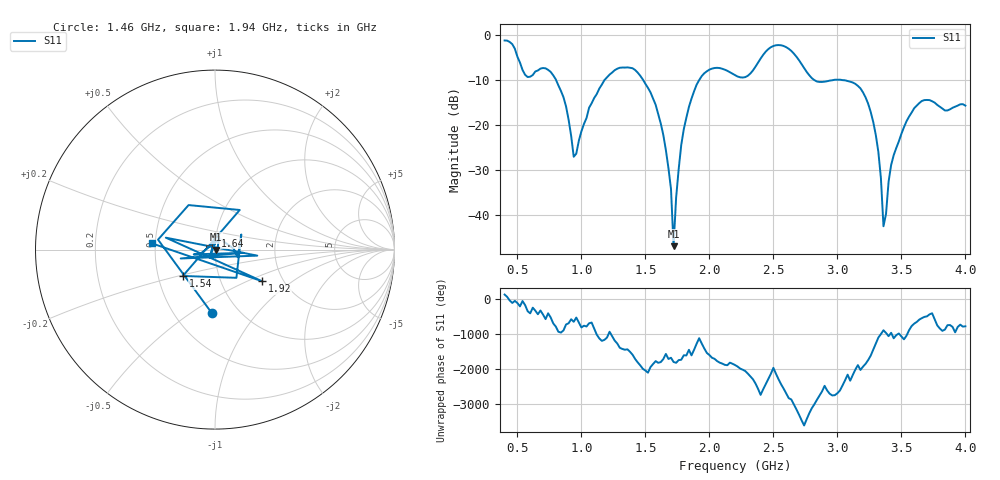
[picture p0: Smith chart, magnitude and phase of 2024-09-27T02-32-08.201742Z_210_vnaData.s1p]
!Created with skrf (http://scikit-rf.org).
# Hz S RI R 50.0
!freq ReS11 ImS11
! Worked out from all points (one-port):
!   181 points, 400 MHz to 4 GHz, reference 50 ohm
!   lowest |S11| = -46.8 dB at 1.72 GHz (marker M1), VSWR 1.01, Z = 50.5 + j0.0443 ohm
!   |S11| at or under -10 dB: 802.7 MHz to 1.179 GHz (376.7 MHz wide, 38 % of centre); 1.483 GHz to 1.92 GHz (436.2 MHz wide, 25.6 % of centre); 3.05 GHz to end of sweep (the widest 3 of 4)
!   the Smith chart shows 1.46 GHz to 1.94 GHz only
!   S11 on the Smith chart (normalised r, x): 1.46 GHz: 0.75, -0.61; 1.54 GHz: 0.67, -0.21; 1.64 GHz: 0.99, +0.16; 1.92 GHz: 1.57, -0.62; 1.94 GHz: 0.48, +0.04
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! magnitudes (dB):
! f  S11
! 400 MHz  -1.2
! 560 MHz  -8.8
! 720 MHz  -7.4
! 860 MHz  -13.8
! 940 MHz  -27.0
! 1.06 GHz  -16.1
! 1.3 GHz  -7.2
! 1.46 GHz  -9.0
! 1.54 GHz  -12.7
! 1.64 GHz  -22.2
! 1.7 GHz  -34.2
! 1.72 GHz  -46.8
! 1.76 GHz  -29.7
! 1.82 GHz  -18.3
! 1.92 GHz  -10.0
! 1.94 GHz  -9.1
! 2.2 GHz  -8.9
! 2.5 GHz  -2.4
! 2.66 GHz  -4.1
! 2.84 GHz  -10.3
! 3.1 GHz  -10.3
! 3.28 GHz  -19.3
! 3.32 GHz  -25.9
! 3.36 GHz  -42.4
! 3.42 GHz  -28.8
! 3.56 GHz  -18.1
! 3.68 GHz  -14.4
! 4 GHz  -15.6
